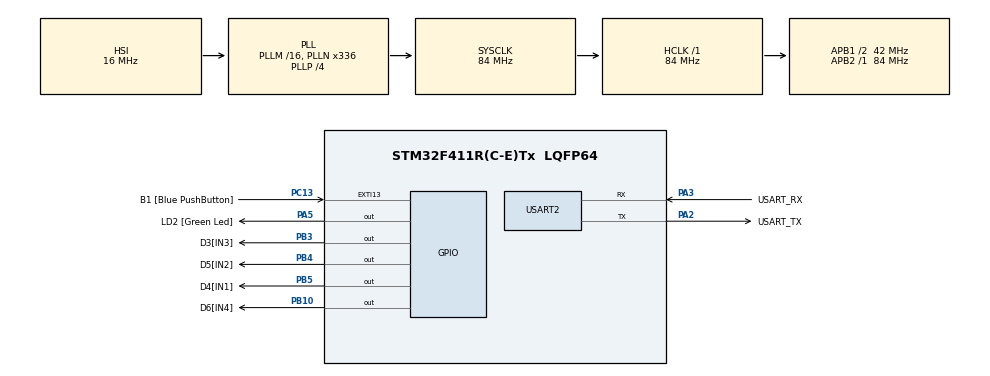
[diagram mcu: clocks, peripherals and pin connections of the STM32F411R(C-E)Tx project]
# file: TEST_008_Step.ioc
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Mcu.Family=STM32F4
Mcu.Name=STM32F411R(C-E)Tx
Mcu.Package=LQFP64
NVIC.PriorityGroup=NVIC_PRIORITYGROUP_0
PA13.GPIO_Label=TMS
PA13.Mode=Serial_Wire
PA13.Signal=SYS_JTMS-SWDIO
PA14.GPIO_Label=TCK
PA14.Mode=Serial_Wire
PA14.Signal=SYS_JTCK-SWCLK
PA2.GPIO_Label=USART_TX
PA2.Mode=Asynchronous
PA2.Signal=USART2_TX
PA3.GPIO_Label=USART_RX
PA3.Mode=Asynchronous
PA3.Signal=USART2_RX
PA5.GPIO_Label=LD2 [Green Led]
PA5.Signal=GPIO_Output
PB10.GPIO_Label=D6[IN4]
PB10.Signal=GPIO_Output
PB3.GPIO_Label=D3[IN3]
PB3.Signal=GPIO_Output
PB4.GPIO_Label=D5[IN2]
PB4.Signal=GPIO_Output
PB5.GPIO_Label=D4[IN1]
PB5.Signal=GPIO_Output
PC13-ANTI_TAMP.GPIO_Label=B1 [Blue PushButton]
PC13-ANTI_TAMP.GPIO_ModeDefaultEXTI=GPIO_MODE_IT_FALLING
PC13-ANTI_TAMP.Signal=GPXTI13
PC14-OSC32_IN.Mode=LSE-External-Oscillator
PC14-OSC32_IN.Signal=RCC_OSC32_IN
PC15-OSC32_OUT.Mode=LSE-External-Oscillator
PC15-OSC32_OUT.Signal=RCC_OSC32_OUT
PH0\ -\ OSC_IN.Mode=HSE-External-Clock-Source
PH0\ -\ OSC_IN.Signal=RCC_OSC_IN
PH1\ -\ OSC_OUT.Mode=HSE-External-Clock-Source
PH1\ -\ OSC_OUT.Signal=RCC_OSC_OUT
ProjectManager.HeapSize=0x200
ProjectManager.StackSize=0x400
ProjectManager.TargetToolchain=STM32CubeIDE
RCC.48MHZClocksFreq_Value=84000000
RCC.AHBFreq_Value=84000000
RCC.APB1CLKDivider=RCC_HCLK_DIV2
RCC.APB1Freq_Value=42000000
RCC.APB1TimFreq_Value=84000000
RCC.APB2Freq_Value=84000000
RCC.APB2TimFreq_Value=84000000
RCC.CortexFreq_Value=84000000
RCC.FLatency-AdvancedSettings=FLASH_LATENCY_2
RCC.HCLKFreq_Value=84000000
RCC.HSE_VALUE=8000000
RCC.HSI_VALUE=16000000
RCC.PLLN=336
RCC.PLLP=RCC_PLLP_DIV4
RCC.SYSCLKFreq_VALUE=84000000
RCC.SYSCLKSource=RCC_SYSCLKSOURCE_PLLCLK
RCC.VCOOutputFreq_Value=336000000
USART2.VirtualMode=VM_ASYNC
board=NUCLEO-F411RE

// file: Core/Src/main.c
/* USER CODE BEGIN Header */
/**
  ******************************************************************************
  * @file           : main.c
  * @brief          : Main program body
  ******************************************************************************
  * @attention
  *
  * Copyright (c) 2025 STMicroelectronics.
  * All rights reserved.
  *
  * This software is licensed under terms that can be found in the LICENSE file
  * in the root directory of this software component.
  * If no LICENSE file comes with this software, it is provided AS-IS.
  *
  ******************************************************************************
  */
/* USER CODE END Header */
#include "main.h"

UART_HandleTypeDef huart2;

void SystemClock_Config(void);
static void MX_GPIO_Init(void);
static void MX_USART2_UART_Init(void);

/* USER CODE BEGIN 0 */
void step_wave(int step)
{
	switch(step)
	{
	case 1:
	//step 1
	HAL_GPIO_WritePin(D3_GPIO_Port ,D3_Pin, 1);
	HAL_GPIO_WritePin(D4_GPIO_Port ,D4_Pin, 0);
	HAL_GPIO_WritePin(D5_GPIO_Port ,D5_Pin, 0);
	HAL_GPIO_WritePin(D6_GPIO_Port ,D6_Pin, 0);
	HAL_Delay(10);
			break;
	case 2:
	//step 2
	HAL_GPIO_WritePin(D3_GPIO_Port ,D3_Pin, 0);
	HAL_GPIO_WritePin(D4_GPIO_Port ,D4_Pin, 1);
	HAL_GPIO_WritePin(D5_GPIO_Port ,D5_Pin, 0);
	HAL_GPIO_WritePin(D6_GPIO_Port ,D6_Pin, 0);
	HAL_Delay(10);
			break;
	case 3:
	//step 3
	HAL_GPIO_WritePin(D3_GPIO_Port ,D3_Pin, 0);
	HAL_GPIO_WritePin(D4_GPIO_Port ,D4_Pin, 0);
	HAL_GPIO_WritePin(D5_GPIO_Port ,D5_Pin, 1);
	HAL_GPIO_WritePin(D6_GPIO_Port ,D6_Pin, 0);
	HAL_Delay(10);
			break;
	case 4:
	//step 4
	HAL_GPIO_WritePin(D3_GPIO_Port ,D3_Pin, 0);
	HAL_GPIO_WritePin(D4_GPIO_Port ,D4_Pin, 0);
	HAL_GPIO_WritePin(D5_GPIO_Port ,D5_Pin, 0);
	HAL_GPIO_WritePin(D6_GPIO_Port ,D6_Pin, 1);
	AL_Delay(10);
			break;
	}
}

void step_full(int step)
{
	switch(step)
	{
	case 1:
	//step 1
	HAL_GPIO_WritePin(D3_GPIO_Port ,D3_Pin, 1);
	HAL_GPIO_WritePin(D4_GPIO_Port ,D4_Pin, 1);
	HAL_GPIO_WritePin(D5_GPIO_Port ,D5_Pin, 0);
	HAL_GPIO_WritePin(D6_GPIO_Port ,D6_Pin, 0);
			break;
	case 2:
	//step 2
	HAL_GPIO_WritePin(D3_GPIO_Port ,D3_Pin, 0);
	HAL_GPIO_WritePin(D4_GPIO_Port ,D4_Pin, 1);
	HAL_GPIO_WritePin(D5_GPIO_Port ,D5_Pin, 1);
	HAL_GPIO_WritePin(D6_GPIO_Port ,D6_Pin, 0);
			break;
	case 3:
	//step 3
	HAL_GPIO_WritePin(D3_GPIO_Port ,D3_Pin, 0);
	HAL_GPIO_WritePin(D4_GPIO_Port ,D4_Pin, 0);
	HAL_GPIO_WritePin(D5_GPIO_Port ,D5_Pin, 1);
	HAL_GPIO_WritePin(D6_GPIO_Port ,D6_Pin, 1);
			break;
	case 4:
	//step 4
	HAL_GPIO_WritePin(D3_GPIO_Port ,D3_Pin, 1);
	HAL_GPIO_WritePin(D4_GPIO_Port ,D4_Pin, 0);
	HAL_GPIO_WritePin(D5_GPIO_Port ,D5_Pin, 0);
	HAL_GPIO_WritePin(D6_GPIO_Port ,D6_Pin, 1);
			break;
	}
}

void step_half(int step)
{
	switch(step)
	{
	case 1:
	//step 1
	HAL_GPIO_WritePin(D3_GPIO_Port ,D3_Pin, 1);
	HAL_GPIO_WritePin(D4_GPIO_Port ,D4_Pin, 1);
	HAL_GPIO_WritePin(D5_GPIO_Port ,D5_Pin, 0);
	HAL_GPIO_WritePin(D6_GPIO_Port ,D6_Pin, 0);
			break;
	case 2:
	//step 2
	HAL_GPIO_WritePin(D3_GPIO_Port ,D3_Pin, 0);
	HAL_GPIO_WritePin(D4_GPIO_Port ,D4_Pin, 1);
	HAL_GPIO_WritePin(D5_GPIO_Port ,D5_Pin, 1);
	HAL_GPIO_WritePin(D6_GPIO_Port ,D6_Pin, 0);
			break;
	case 3:
	//step 3
	HAL_GPIO_WritePin(D3_GPIO_Port ,D3_Pin, 0);
	HAL_GPIO_WritePin(D4_GPIO_Port ,D4_Pin, 0);
	HAL_GPIO_WritePin(D5_GPIO_Port ,D5_Pin, 1);
	HAL_GPIO_WritePin(D6_GPIO_Port ,D6_Pin, 1);
			break;
	case 4:
	//step 4
	HAL_GPIO_WritePin(D3_GPIO_Port ,D3_Pin, 1);
	HAL_GPIO_WritePin(D4_GPIO_Port ,D4_Pin, 0);
	HAL_GPIO_WritePin(D5_GPIO_Port ,D5_Pin, 0);
	HAL_GPIO_WritePin(D6_GPIO_Port ,D6_Pin, 1);
			break;
	case 5:
	//step 1
	HAL_GPIO_WritePin(D3_GPIO_Port ,D3_Pin, 0);
	HAL_GPIO_WritePin(D4_GPIO_Port ,D4_Pin, 0);
	HAL_GPIO_WritePin(D5_GPIO_Port ,D5_Pin, 1);
	HAL_GPIO_WritePin(D6_GPIO_Port ,D6_Pin, 0);
			break;
	case 6:
	//step 2
	HAL_GPIO_WritePin(D3_GPIO_Port ,D3_Pin, 0);
	HAL_GPIO_WritePin(D4_GPIO_Port ,D4_Pin, 0);
	HAL_GPIO_WritePin(D5_GPIO_Port ,D5_Pin, 1);
	HAL_GPIO_WritePin(D6_GPIO_Port ,D6_Pin, 1);
			break;
	case 7:
	//step 3
	HAL_GPIO_WritePin(D3_GPIO_Port ,D3_Pin, 0);
	HAL_GPIO_WritePin(D4_GPIO_Port ,D4_Pin, 0);
	HAL_GPIO_WritePin(D5_GPIO_Port ,D5_Pin, 0);
	HAL_GPIO_WritePin(D6_GPIO_Port ,D6_Pin, 1);
			break;
	case 8:
	//step 4
	HAL_GPIO_WritePin(D3_GPIO_Port ,D3_Pin, 1);
	HAL_GPIO_WritePin(D4_GPIO_Port ,D4_Pin, 0);
	HAL_GPIO_WritePin(D5_GPIO_Port ,D5_Pin, 0);
	HAL_GPIO_WritePin(D6_GPIO_Port ,D6_Pin, 1);
			break;
	}
}
/* USER CODE END 0 */

int main(void)
{

  /* MCU Configuration--------------------------------------------------------*/

  /* Reset of all peripherals, Initializes the Flash interface and the Systick. */
  HAL_Init();

  /* Configure the system clock */
  SystemClock_Config();

  /* Initialize all configured peripherals */
  MX_GPIO_Init();
  MX_USART2_UART_Init();
  /* USER CODE BEGIN 2 */
  ProgramStart("Step motor Control");

  /* USER CODE END 2 */

  /* Infinite loop */
  /* USER CODE BEGIN WHILE */
  int angle = 0;
  int cnt = 0;
  while (1)
  {
//	  printf("angle :");
//	  scanf("%d", &angle );
//	  cnt = 512 * angle /360;
//	  printf("angle : %d \r\n", cnt);
//	  for( int i = 0; i < angle; i++ )
//	  {}
	  //4stage
	  for(int i = 0; i < 2048; i++)
	  {
//		  step_wave( (i % 4) + 1); HAL_Delay(1);
//	  	  step_full( (i % 4) + 1); HAL_Delay(1);
		  step_half( (i % 4) + 1); HAL_Delay(1);
	  }

    /* USER CODE END WHILE */

  }
}

void SystemClock_Config(void)
{
  RCC_OscInitTypeDef RCC_OscInitStruct = {0};
  RCC_ClkInitTypeDef RCC_ClkInitStruct = {0};

  /** Configure the main internal regulator output voltage
  */
  __HAL_RCC_PWR_CLK_ENABLE();
  __HAL_PWR_VOLTAGESCALING_CONFIG(PWR_REGULATOR_VOLTAGE_SCALE1);

  /** Initializes the RCC Oscillators according to the specified parameters
  * in the RCC_OscInitTypeDef structure.
  */
  RCC_OscInitStruct.OscillatorType = RCC_OSCILLATORTYPE_HSI;
  RCC_OscInitStruct.HSIState = RCC_HSI_ON;
  RCC_OscInitStruct.HSICalibrationValue = RCC_HSICALIBRATION_DEFAULT;
  RCC_OscInitStruct.PLL.PLLState = RCC_PLL_ON;
  RCC_OscInitStruct.PLL.PLLSource = RCC_PLLSOURCE_HSI;
  RCC_OscInitStruct.PLL.PLLM = 16;
  RCC_OscInitStruct.PLL.PLLN = 336;
  RCC_OscInitStruct.PLL.PLLP = RCC_PLLP_DIV4;
  RCC_OscInitStruct.PLL.PLLQ = 4;
  if (HAL_RCC_OscConfig(&RCC_OscInitStruct) != HAL_OK)
  {
    Error_Handler();
  }

  /** Initializes the CPU, AHB and APB buses clocks
  */
  RCC_ClkInitStruct.ClockType = RCC_CLOCKTYPE_HCLK|RCC_CLOCKTYPE_SYSCLK
                              |RCC_CLOCKTYPE_PCLK1|RCC_CLOCKTYPE_PCLK2;
  RCC_ClkInitStruct.SYSCLKSource = RCC_SYSCLKSOURCE_PLLCLK;
  RCC_ClkInitStruct.AHBCLKDivider = RCC_SYSCLK_DIV1;
  RCC_ClkInitStruct.APB1CLKDivider = RCC_HCLK_DIV2;
  RCC_ClkInitStruct.APB2CLKDivider = RCC_HCLK_DIV1;

  if (HAL_RCC_ClockConfig(&RCC_ClkInitStruct, FLASH_LATENCY_2) != HAL_OK)
  {
    Error_Handler();
  }
}

static void MX_USART2_UART_Init(void)
{

  huart2.Instance = USART2;
  huart2.Init.BaudRate = 115200;
  huart2.Init.WordLength = UART_WORDLENGTH_8B;
  huart2.Init.StopBits = UART_STOPBITS_1;
  huart2.Init.Parity = UART_PARITY_NONE;
  huart2.Init.Mode = UART_MODE_TX_RX;
  huart2.Init.HwFlowCtl = UART_HWCONTROL_NONE;
  huart2.Init.OverSampling = UART_OVERSAMPLING_16;
  if (HAL_UART_Init(&huart2) != HAL_OK)
  {
    Error_Handler();
  }

}

static void MX_GPIO_Init(void)
{
  GPIO_InitTypeDef GPIO_InitStruct = {0};

  /* GPIO Ports Clock Enable */
  __HAL_RCC_GPIOC_CLK_ENABLE();
  __HAL_RCC_GPIOH_CLK_ENABLE();
  __HAL_RCC_GPIOA_CLK_ENABLE();
  __HAL_RCC_GPIOB_CLK_ENABLE();

  /*Configure GPIO pin Output Level */
  HAL_GPIO_WritePin(LD2_GPIO_Port, LD2_Pin, GPIO_PIN_RESET);

  /*Configure GPIO pin Output Level */
  HAL_GPIO_WritePin(GPIOB, D6_Pin|D3_Pin|D5_Pin|D4_Pin, GPIO_PIN_RESET);

  /*Configure GPIO pin : B1_Pin */
  GPIO_InitStruct.Pin = B1_Pin;
  GPIO_InitStruct.Mode = GPIO_MODE_IT_FALLING;
  GPIO_InitStruct.Pull = GPIO_NOPULL;
  HAL_GPIO_Init(B1_GPIO_Port, &GPIO_InitStruct);

  /*Configure GPIO pin : LD2_Pin */
  GPIO_InitStruct.Pin = LD2_Pin;
  GPIO_InitStruct.Mode = GPIO_MODE_OUTPUT_PP;
  GPIO_InitStruct.Pull = GPIO_NOPULL;
  GPIO_InitStruct.Speed = GPIO_SPEED_FREQ_LOW;
  HAL_GPIO_Init(LD2_GPIO_Port, &GPIO_InitStruct);

  /*Configure GPIO pins : D6_Pin D3_Pin D5_Pin D4_Pin */
  GPIO_InitStruct.Pin = D6_Pin|D3_Pin|D5_Pin|D4_Pin;
  GPIO_InitStruct.Mode = GPIO_MODE_OUTPUT_PP;
  GPIO_InitStruct.Pull = GPIO_NOPULL;
  GPIO_InitStruct.Speed = GPIO_SPEED_FREQ_LOW;
  HAL_GPIO_Init(GPIOB, &GPIO_InitStruct);

}

void Error_Handler(void)
{
  __disable_irq();
  while (1)
  {
  }
}
